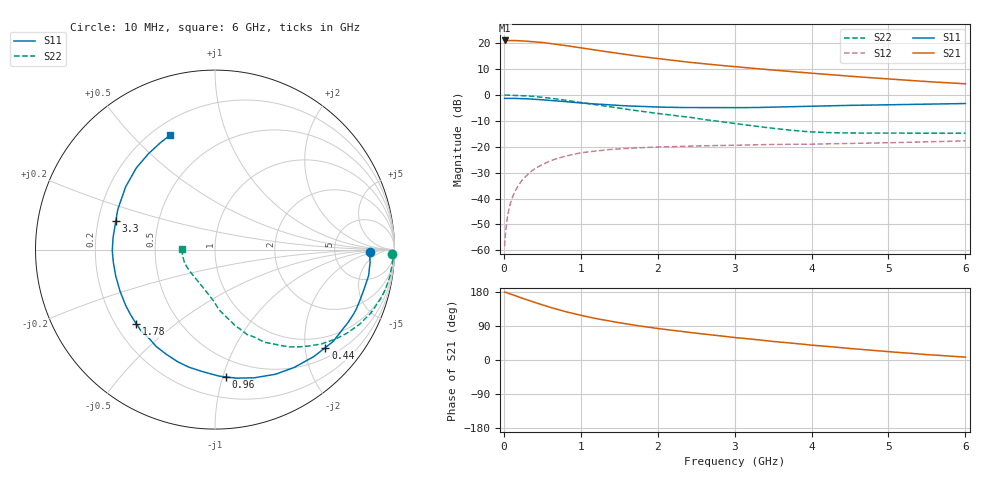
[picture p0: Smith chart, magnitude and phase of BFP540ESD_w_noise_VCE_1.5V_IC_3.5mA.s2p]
! Infineon Technologies  Discrete & RF Semiconductors
! BFP540ESD
! VCE =  1.5 V,  IC =  3.5 mA
! Common Emitter S-Parameters:  Nov 2015
# GHz  S  MA  R  50
!  f  S11  S21  S12  S22
! GHz  MAG  ANG  MAG  ANG  MAG  ANG  MAG  ANG
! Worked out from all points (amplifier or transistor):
!   210 points, 10 MHz to 6 GHz, reference 50 ohm
!   highest |S21| = 21.1 dB at 10 MHz (marker M1)
!   |S21| within 3 dB of that: start of sweep to 1.032 GHz
!   unconditionally stable (mu >= 1): 3.656 GHz to end of sweep
!   at 185 MHz: K = 0.01, MSG = 28.1 dB, |S12| = -35.2 dB
!   at 1.52 GHz: K = 0.39, MSG = 18.4 dB, |S12| = -20.8 dB
!   at 6 GHz: K = 1.29, MAG = 7.8 dB, |S12| = -17.7 dB
!   lowest NFmin = 0.64 dB at 900 MHz
!   S11 on the Smith chart (normalised r, x): 10 MHz: 13, -1; 440 MHz: 0.73, -2.45; 960 MHz: 0.36, -1.03; 1.78 GHz: 0.28, -0.37; 3.3 GHz: 0.27, +0.13; 6 GHz: 0.27, +0.65
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0.01  0.8621 -0.9  11.35 179.2  0.0012 86.6  0.9841 -1.3
0.03  0.864 -3.1  11.27 178.2  0.0029 88.4  0.9979 -1.8
0.055  0.8669 -5.3  11.31 176.2  0.0052 86.1  0.9932 -3.1
0.13  0.8624 -12.5  11.3 171.0  0.0123 85.3  0.9869 -7.3
0.26  0.8519 -24.8  11.07 161.8  0.0247 78.7  0.9701 -14.5
0.44  0.8223 -41.6  10.55 149.5  0.0406 69.7  0.9245 -24.1
0.5  0.8115 -47.2  10.39 145.4  0.0454 66.6  0.9068 -27.3
0.6  0.7911 -56.1  9.925 139.0  0.0532 62.9  0.8712 -32.2
0.7  0.772 -64.1  9.52 133.6  0.0598 58.9  0.8351 -36.7
0.8  0.7467 -73.1  9.079 127.7  0.0661 54.8  0.7948 -41.3
0.96  0.7122 -85.0  8.342 119.9  0.0742 48.9  0.7341 -47.3
1.02  0.7002 -89.5  8.089 117.1  0.0769 47.0  0.7121 -49.5
1.2  0.6713 -102.4  7.363 109.3  0.0833 41.9  0.6488 -55.5
1.4  0.6434 -114.9  6.668 102.0  0.0891 37.2  0.5863 -61.8
1.78  0.6034 -136.5  5.566 89.4  0.0958 29.7  0.4885 -70.6
2.02  0.5869 -148.0  5.039 82.5  0.0994 26.5  0.4382 -75.2
2.6  0.5712 -172.3  4.022 68.4  0.1044 20.6  0.3367 -86.1
3.1  0.5712 170.2  3.427 57.5  0.1076 17.2  0.2695 -94.6
3.3  0.5751 163.9  3.227 53.4  0.1093 15.9  0.2474 -99.5
4.1  0.6116 142.5  2.573 37.6  0.1131 11.7  0.1907 -127.1
5.1  0.653 123.2  2.001 20.4  0.1205 8.8  0.184 -158.8
6  0.6856 111.3  1.651 7.5  0.1301 7.4  0.1832 178.2
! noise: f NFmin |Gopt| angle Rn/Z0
0.9  0.64  0.22  44  0.14
1.8  0.9  0.18  97  0.12
2.4  0.92  0.21  112  0.1
3  1.1  0.26  147  0.09
4  1.35  0.28  -137  0.14
5  1.65  0.41  -105  0.31
6  1.85  0.54  -104  0.47
